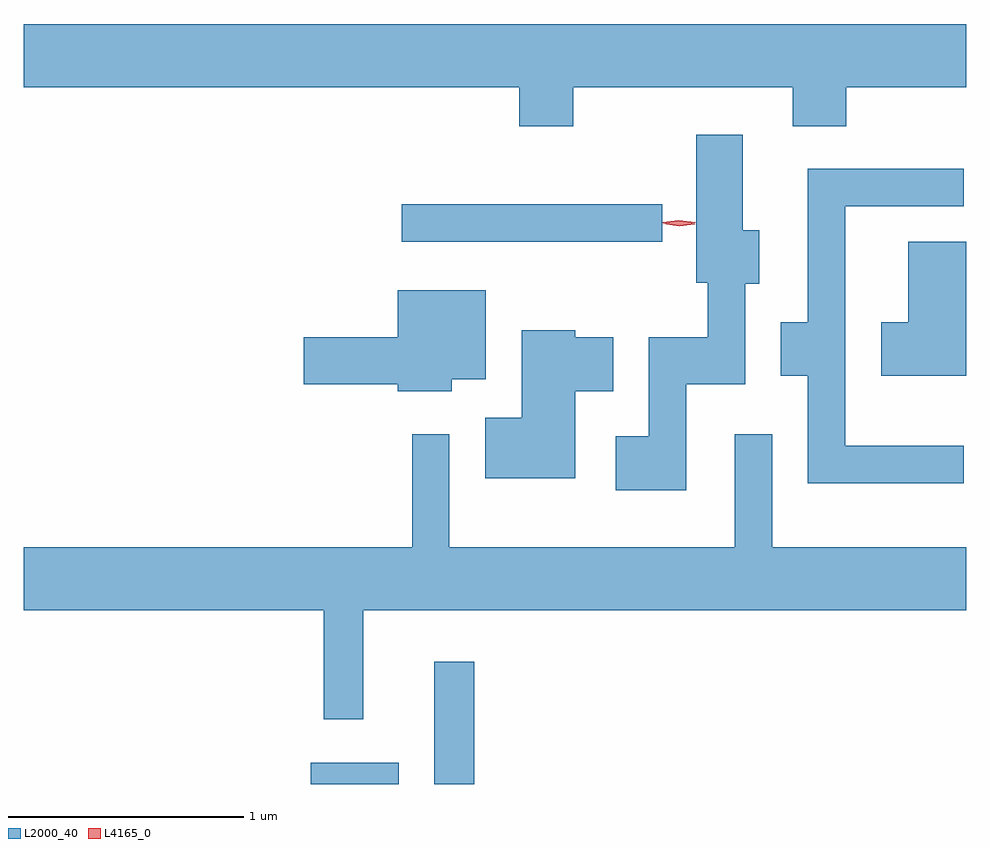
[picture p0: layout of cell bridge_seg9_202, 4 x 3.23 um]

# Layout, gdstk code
import gdstk
lib = gdstk.Library(unit=1e-6, precision=1e-09)
def R(c, l, rs):  # rectangles x0, y0, x1, y1
    for r in rs: c.add(gdstk.rectangle(r[:2], r[2:], *l))
def P(c, l, *ps):  # polygons
    for p in ps: c.add(gdstk.Polygon(p, *l))
L2000_40 = (2000, 40)
L4165_0 = (4165, 0)

bridge_seg9_202 = lib.new_cell('bridge_seg9_202')
R(bridge_seg9_202, L2000_40, [(1125.866,1946.679,1126.239,1946.769), (1126.391,1946.679,1126.559,1947.198), (1126.253,1948.981,1127.358,1949.139)])
P(bridge_seg9_202, L2000_40, [(1126.979,1949.636),(1127.911,1949.636),(1127.911,1949.471),(1128.139,1949.471),(1128.139,1949.636),(1128.648,1949.636),(1128.648,1949.904),(1124.648,1949.904),(1124.648,1949.636),(1126.751,1949.636),(1126.751,1949.471),(1126.979,1949.471)],
  [(1127.459,1948.376),(1127.709,1948.376),(1127.709,1948.801),(1127.769,1948.801),(1127.769,1949.029),(1127.699,1949.029),(1127.699,1949.434),(1127.501,1949.434),(1127.501,1948.806),(1127.551,1948.806),(1127.551,1948.574),(1127.301,1948.574),(1127.301,1948.154),(1127.161,1948.154),(1127.161,1947.926),(1127.459,1947.926)],
  [(1128.638,1948.114),(1128.134,1948.114),(1128.134,1949.131),(1128.638,1949.131),(1128.638,1949.289),(1127.976,1949.289),(1127.976,1948.639),(1127.861,1948.639),(1127.861,1948.411),(1127.976,1948.411),(1127.976,1947.956),(1128.638,1947.956)],
  [(1128.648,1948.979),(1128.401,1948.979),(1128.401,1948.639),(1128.286,1948.639),(1128.286,1948.411),(1128.648,1948.411)],
  [(1126.464,1948.396),(1126.609,1948.396),(1126.609,1948.774),(1126.236,1948.774),(1126.236,1948.574),(1125.836,1948.574),(1125.836,1948.376),(1126.236,1948.376),(1126.236,1948.346),(1126.464,1948.346)],
  [(1126.989,1948.346),(1127.149,1948.346),(1127.149,1948.574),(1126.989,1948.574),(1126.989,1948.604),(1126.761,1948.604),(1126.761,1948.234),(1126.606,1948.234),(1126.606,1947.976),(1126.989,1947.976)],
  [(1126.089,1947.416),(1128.648,1947.416),(1128.648,1947.684),(1127.824,1947.684),(1127.824,1948.163),(1127.666,1948.163),(1127.666,1947.684),(1126.454,1947.684),(1126.454,1948.163),(1126.296,1948.163),(1126.296,1947.684),(1124.648,1947.684),(1124.648,1947.416),(1125.921,1947.416),(1125.921,1946.953),(1126.089,1946.953)])
P(bridge_seg9_202, L4165_0, [(1127.428,1949.051),(1127.36,1949.061),(1127.36,1949.061),(1127.36,1949.062),(1127.428,1949.071),(1127.497,1949.062),(1127.497,1949.061),(1127.497,1949.061)],
  [(1127.429,1949.046),(1127.363,1949.056),(1127.363,1949.056),(1127.363,1949.057),(1127.429,1949.066),(1127.495,1949.056),(1127.495,1949.056),(1127.495,1949.055)])

lib.write_gds('bridge_seg9_202.gds')
